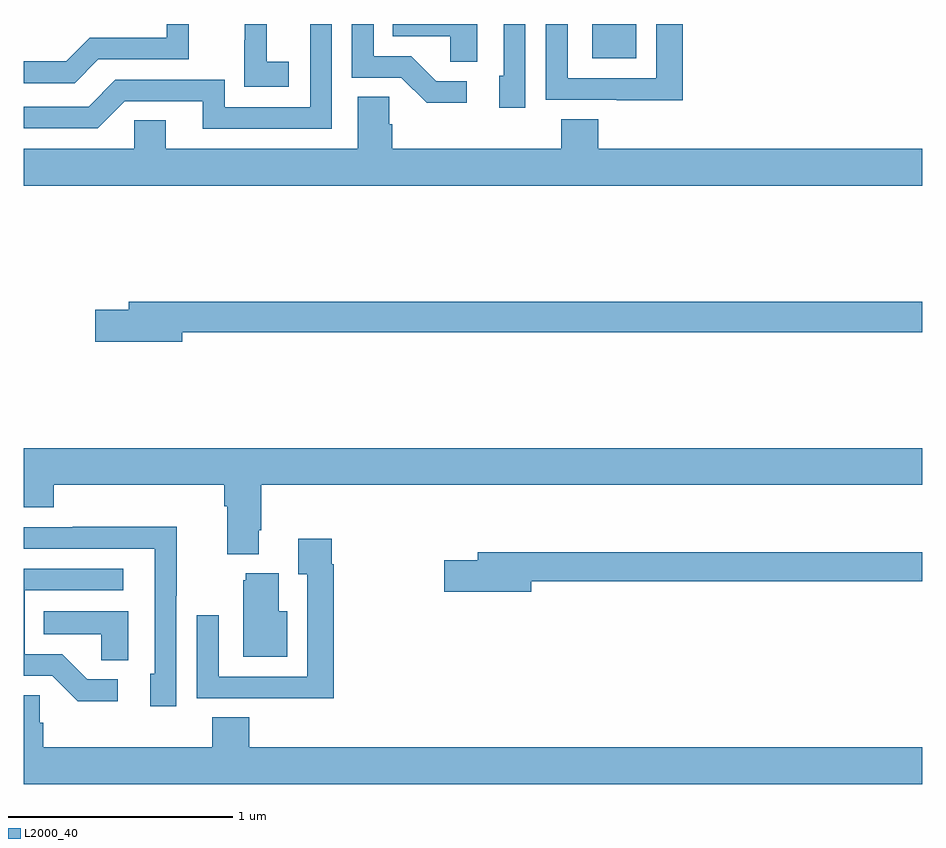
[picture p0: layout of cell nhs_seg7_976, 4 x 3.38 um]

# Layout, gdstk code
import gdstk
lib = gdstk.Library(unit=1e-6, precision=1e-09)
def R(c, l, rs):  # rectangles x0, y0, x1, y1
    for r in rs: c.add(gdstk.rectangle(r[:2], r[2:], *l))
def P(c, l, *ps):  # polygons
    for p in ps: c.add(gdstk.Polygon(p, *l))
L2000_40 = (2000, 40)

nhs_seg7_976 = lib.new_cell('nhs_seg7_976')
R(nhs_seg7_976, L2000_40, [(185.531,1003.847,185.728,1004)])
P(nhs_seg7_976, L2000_40, [(184.972,1003.746),(184.837,1003.746),(184.726,1003.857),(184.557,1003.857),(184.557,1004),(184.461,1004),(184.461,1003.761),(184.68,1003.761),(184.793,1003.649),(184.972,1003.649)],
  [(183.331,1003.842),(183.735,1003.842),(183.735,1004),(183.636,1004),(183.636,1003.938),(183.294,1003.938),(183.19,1003.834),(183,1003.834),(183,1003.737),(183.226,1003.737)],
  [(184.18,1003.831),(184.082,1003.831),(184.082,1004),(183.983,1004),(183.983,1003.927),(183.982,1003.927),(183.982,1003.721),(184.18,1003.721)],
  [(185.232,1004),(185.136,1004),(185.136,1003.77),(185.117,1003.77),(185.117,1003.626),(185.232,1003.626)],
  [(185.933,1004),(185.817,1004),(185.817,1003.758),(185.421,1003.758),(185.421,1004),(185.325,1004),(185.325,1003.662),(185.641,1003.662),(185.641,1003.661),(185.933,1003.661)],
  [(185.02,1004),(184.642,1004),(184.642,1003.946),(184.899,1003.946),(184.899,1003.831),(185.02,1003.831)],
  [(184.371,1004),(184.275,1004),(184.275,1003.629),(183.894,1003.629),(183.894,1003.752),(183.408,1003.752),(183.288,1003.632),(183,1003.632),(183,1003.536),(183.33,1003.536),(183.45,1003.656),(183.797,1003.656),(183.797,1003.533),(184.371,1003.533)],
  [(184.487,1003.676),(184.487,1003.444),(183.631,1003.444),(183.631,1003.571),(183.492,1003.571),(183.492,1003.444),(183,1003.444),(183,1003.28),(187,1003.28),(187,1003.444),(185.558,1003.444),(185.558,1003.577),(185.393,1003.577),(185.393,1003.444),(184.64,1003.444),(184.64,1003.553),(184.626,1003.553),(184.626,1003.676)],
  [(183.706,1002.628),(187,1002.628),(187,1002.764),(183.467,1002.764),(183.467,1002.728),(183.318,1002.728),(183.318,1002.586),(183.706,1002.586)],
  [(184.045,1001.746),(184.058,1001.746),(184.058,1001.948),(187,1001.948),(187,1002.112),(183,1002.112),(183,1001.849),(183.134,1001.849),(183.134,1001.948),(183.893,1001.948),(183.893,1001.852),(183.905,1001.852),(183.905,1001.639),(184.045,1001.639)],
  [(183.678,1001.455),(183.681,1001.455),(183.681,1001.762),(183.217,1001.762),(183.217,1001.76),(183,1001.76),(183,1001.664),(183.582,1001.664),(183.582,1001.106),(183.563,1001.106),(183.563,1000.962),(183.678,1000.962)],
  [(184.379,1001.594),(184.372,1001.594),(184.372,1001.707),(184.223,1001.707),(184.223,1001.551),(184.263,1001.551),(184.263,1001.094),(183.867,1001.094),(183.867,1001.368),(183.771,1001.368),(183.771,1000.998),(184.087,1000.998),(184.087,1000.997),(184.379,1000.997)],
  [(185.26,1001.518),(187,1001.518),(187,1001.647),(185.021,1001.647),(185.021,1001.613),(184.872,1001.613),(184.872,1001.471),(185.26,1001.471)],
  [(183.418,1001.082),(183.283,1001.082),(183.172,1001.193),(183.003,1001.193),(183.003,1001.478),(183.442,1001.478),(183.442,1001.574),(183,1001.574),(183,1001.097),(183.126,1001.097),(183.239,1000.985),(183.418,1000.985)],
  [(184.174,1001.386),(184.135,1001.386),(184.135,1001.554),(183.989,1001.554),(183.989,1001.523),(183.977,1001.523),(183.977,1001.183),(184.174,1001.183)],
  [(183.466,1001.386),(183.088,1001.386),(183.088,1001.282),(183.345,1001.282),(183.345,1001.167),(183.466,1001.167)],
  [(187,1000.78),(184.004,1000.78),(184.004,1000.913),(183.839,1000.913),(183.839,1000.78),(183.086,1000.78),(183.086,1000.889),(183.072,1000.889),(183.072,1001.012),(183,1001.012),(183,1000.616),(187,1000.616)])

lib.write_gds('nhs_seg7_976.gds')
